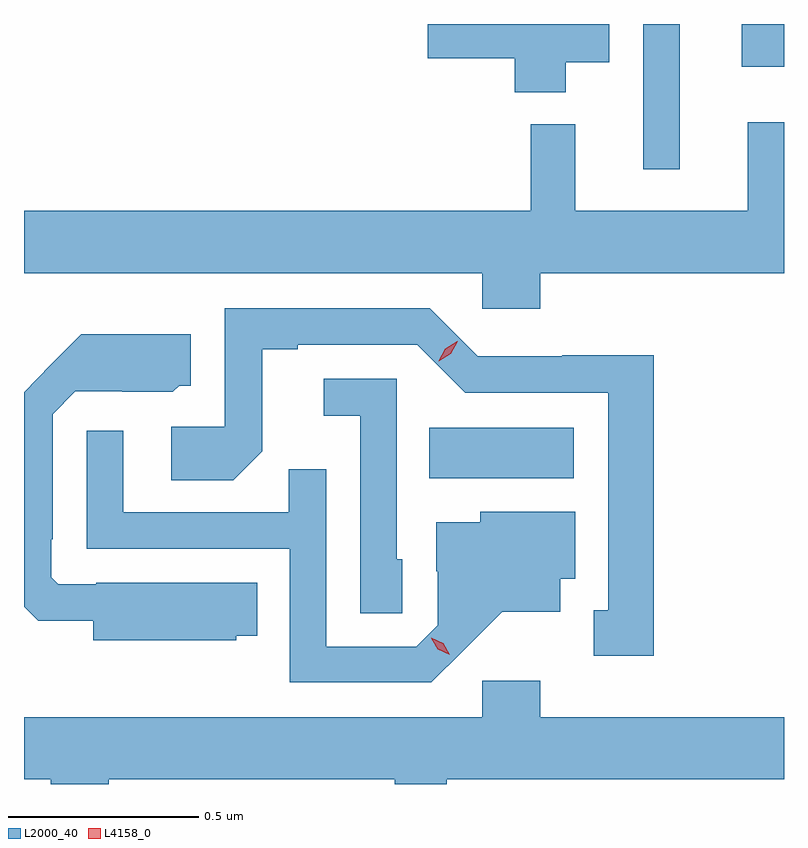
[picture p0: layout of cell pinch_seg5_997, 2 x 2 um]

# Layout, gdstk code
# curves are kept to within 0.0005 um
import gdstk
lib = gdstk.Library(unit=1e-6, precision=1e-09)
def R(c, l, rs):  # rectangles x0, y0, x1, y1
    for r in rs: c.add(gdstk.rectangle(r[:2], r[2:], *l))
def P(c, l, *ps):  # polygons
    for p in ps: c.add(gdstk.Polygon(p, *l))
L2000_40 = (2000, 40)
L4158_0 = (4158, 0)

pinch_seg5_997 = lib.new_cell('pinch_seg5_997')
R(pinch_seg5_997, L2000_40, [(748.978,912.164,749.359,912.298), (749.541,912.978,749.638,913.36), (749.801,913.247,749.912,913.36)])
P(pinch_seg5_997, L2000_40, [(749.338,913.259),(749.452,913.259),(749.452,913.36),(748.974,913.36),(748.974,913.27),(749.204,913.27),(749.204,913.181),(749.338,913.181)],
  [(749.27,912.704),(749.912,912.704),(749.912,913.102),(749.816,913.102),(749.816,912.868),(749.363,912.868),(749.363,913.096),(749.245,913.096),(749.245,912.868),(747.912,912.868),(747.912,912.704),(749.118,912.704),(749.118,912.611),(749.27,912.611)],
  [(749.569,912.488),(749.328,912.488),(749.328,912.486),(749.106,912.486),(748.98,912.612),(748.44,912.612),(748.44,912.3),(748.299,912.3),(748.299,912.16),(748.463,912.16),(748.539,912.236),(748.539,912.504),(748.633,912.504),(748.633,912.516),(748.947,912.516),(749.073,912.39),(749.45,912.39),(749.45,911.817),(749.411,911.817),(749.411,911.697),(749.569,911.697)],
  [(748.47,911.75),(748.526,911.75),(748.526,911.89),(748.102,911.89),(748.102,911.886),(748.002,911.886),(747.984,911.904),(747.984,912.004),(747.987,912.004),(747.987,912.333),(748.047,912.393),(748.17,912.393),(748.17,912.392),(748.304,912.392),(748.32,912.408),(748.351,912.408),(748.351,912.544),(748.063,912.544),(747.912,912.391),(747.912,911.827),(747.95,911.789),(748.094,911.789),(748.094,911.738),(748.47,911.738)],
  [(748.908,911.952),(748.893,911.952),(748.893,912.426),(748.701,912.426),(748.701,912.329),(748.797,912.329),(748.797,911.809),(748.908,911.809)],
  [(749.068,911.711),(749.171,911.813),(749.323,911.813),(749.323,911.9),(749.362,911.9),(749.362,912.076),(749.112,912.076),(749.112,912.049),(748.997,912.049),(748.997,911.92),(749.001,911.92),(749.001,911.778),(748.944,911.721),(748.707,911.721),(748.707,912.188),(748.609,912.188),(748.609,912.075),(748.173,912.075),(748.173,912.289),(748.077,912.289),(748.077,911.979),(748.611,911.979),(748.611,911.628),(748.984,911.628)],
  [(748.135,911.372),(748.887,911.372),(748.887,911.36),(749.025,911.36),(749.025,911.372),(749.912,911.372),(749.912,911.536),(749.27,911.536),(749.27,911.632),(749.118,911.632),(749.118,911.536),(747.912,911.536),(747.912,911.372),(747.983,911.372),(747.983,911.36),(748.135,911.36)])
P(pinch_seg5_997, L4158_0, [(749.003,912.473),(749.003,912.474),(749.021,912.506),(749.052,912.525),(749.053,912.525),(749.053,912.525),(749.035,912.492),(749.003,912.473)],
  [(749.032,911.7),(749.001,911.715),(748.984,911.744),(748.984,911.745),(748.984,911.745),(749.015,911.73),(749.032,911.7),(749.032,911.7)])

lib.write_gds('pinch_seg5_997.gds')
